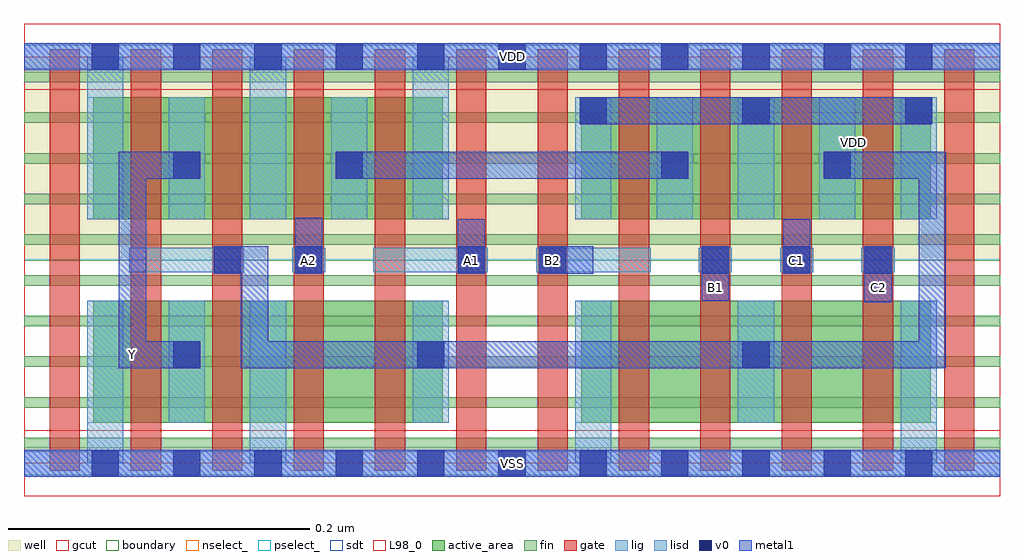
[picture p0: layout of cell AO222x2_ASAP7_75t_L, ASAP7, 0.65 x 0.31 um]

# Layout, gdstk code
import gdstk
lib = gdstk.Library(unit=1e-6, precision=2.5e-10)
def R(c, l, rs):  # rectangles x0, y0, x1, y1
    for r in rs: c.add(gdstk.rectangle(r[:2], r[2:], *l))
def A(c, l, x, y, w, h, nx, ny, dx, dy):  # array of equal rectangles
    R(c, l, [(x+i*dx, y+j*dy, x+i*dx+w, y+j*dy+h) for i in range(nx) for j in range(ny)])
def P(c, l, *ps):  # polygons
    for p in ps: c.add(gdstk.Polygon(p, *l))
well = (1, 0)
fin = (2, 0)
gate = (7, 0)
gcut = (10, 0)
active_area = (11, 0)
nselect_ = (12, 0)
pselect_ = (13, 0)
lig = (16, 0)
lisd = (17, 0)
v0 = (18, 0)
metal1 = (19, 0)
sdt = (88, 0)
L98_0 = (98, 0)
boundary = (100, 0)

ao222x2_asap7_75t_l = lib.new_cell('AO222x2_ASAP7_75t_L')
R(ao222x2_asap7_75t_l, well, [(0,0.135,0.648,0.27)])
A(ao222x2_asap7_75t_l, fin, 0, 0.01, 0.648, 0.007, 1, 10, 0, 0.027)
A(ao222x2_asap7_75t_l, gate, 0.017, -0.005, 0.02, 0.28, 12, 1, 0.054, 0)
R(ao222x2_asap7_75t_l, gcut, [(0,-0.022,0.648,0.022), (0,0.248,0.648,0.292)])
R(ao222x2_asap7_75t_l, active_area, [(0.046,0.027,0.278,0.108), (0.37,0.027,0.602,0.108), (0.046,0.162,0.278,0.243), (0.37,0.162,0.602,0.243)])
R(ao222x2_asap7_75t_l, nselect_, [(0,0,0.648,0.135)])
R(ao222x2_asap7_75t_l, pselect_, [(0,0.135,0.648,0.27)])
A(ao222x2_asap7_75t_l, lig, 0.448, 0.127, 0.022, 0.016, 3, 1, 0.054, 0)
R(ao222x2_asap7_75t_l, lig, [(0,-0.008,0.648,0.008), (0.07,0.127,0.146,0.143), (0.178,0.127,0.2,0.143), (0.232,0.127,0.308,0.143), (0.34,0.127,0.416,0.143), (0,0.262,0.648,0.278)])
A(ao222x2_asap7_75t_l, lisd, 0.15, 0, 0.024, 0.108, 3, 1, 0.216, 0)
A(ao222x2_asap7_75t_l, lisd, 0.042, 0.162, 0.024, 0.108, 3, 1, 0.108, 0)
A(ao222x2_asap7_75t_l, lisd, 0.366, 0.162, 0.024, 0.081, 5, 1, 0.054, 0)
R(ao222x2_asap7_75t_l, lisd, [(0.042,0,0.066,0.108), (0.096,0.027,0.12,0.108), (0.258,0.027,0.282,0.108), (0.474,0.027,0.498,0.108), (0.096,0.162,0.12,0.243), (0.204,0.162,0.228,0.243)])
A(ao222x2_asap7_75t_l, v0, 0.045, -0.009, 0.018, 0.018, 11, 2, 0.054, 0.27)
A(ao222x2_asap7_75t_l, v0, 0.45, 0.126, 0.018, 0.018, 3, 1, 0.054, 0)
A(ao222x2_asap7_75t_l, v0, 0.369, 0.225, 0.018, 0.018, 3, 1, 0.108, 0)
R(ao222x2_asap7_75t_l, v0, [(0.099,0.063,0.117,0.081), (0.261,0.063,0.279,0.081), (0.477,0.063,0.495,0.081), (0.126,0.126,0.144,0.144), (0.18,0.126,0.198,0.144), (0.288,0.126,0.306,0.144), (0.342,0.126,0.36,0.144), (0.099,0.189,0.117,0.207), (0.207,0.189,0.225,0.207), (0.423,0.189,0.441,0.207), (0.531,0.189,0.549,0.207)])
R(ao222x2_asap7_75t_l, metal1, [(0,-0.009,0.648,0.009), (0.558,0.107,0.576,0.144), (0.45,0.108,0.468,0.144), (0.18,0.126,0.198,0.163), (0.288,0.126,0.306,0.162), (0.342,0.126,0.378,0.144), (0.504,0.126,0.522,0.162), (0.207,0.189,0.441,0.207), (0.369,0.225,0.603,0.243), (0,0.261,0.648,0.279)])
P(ao222x2_asap7_75t_l, metal1, [(0.144,0.063),(0.144,0.126),(0.126,0.126),(0.126,0.144),(0.162,0.144),(0.162,0.081),(0.594,0.081),(0.594,0.189),(0.531,0.189),(0.531,0.207),(0.612,0.207),(0.612,0.063)],
  [(0.063,0.063),(0.063,0.207),(0.117,0.207),(0.117,0.189),(0.081,0.189),(0.081,0.081),(0.117,0.081),(0.117,0.063)])
A(ao222x2_asap7_75t_l, sdt, 0.042, 0.027, 0.024, 0.081, 3, 1, 0.054, 0)
A(ao222x2_asap7_75t_l, sdt, 0.258, 0.027, 0.024, 0.081, 4, 1, 0.108, 0)
A(ao222x2_asap7_75t_l, sdt, 0.042, 0.162, 0.024, 0.081, 5, 1, 0.054, 0)
A(ao222x2_asap7_75t_l, sdt, 0.366, 0.162, 0.024, 0.081, 5, 1, 0.054, 0)
R(ao222x2_asap7_75t_l, L98_0, [(0,0,0.648,0.27)])
R(ao222x2_asap7_75t_l, boundary, [(0,0,0.648,0.27)])
ao222x2_asap7_75t_l.add(gdstk.Label('Y', (0.072,0.072), layer=19, texttype=251))
ao222x2_asap7_75t_l.add(gdstk.Label('C2', (0.567,0.117), layer=19, texttype=251))
ao222x2_asap7_75t_l.add(gdstk.Label('C1', (0.513,0.135), layer=19, texttype=251))
ao222x2_asap7_75t_l.add(gdstk.Label('B2', (0.351,0.135), layer=19, texttype=251))
ao222x2_asap7_75t_l.add(gdstk.Label('B1', (0.459,0.117), layer=19, texttype=251))
ao222x2_asap7_75t_l.add(gdstk.Label('A2', (0.189,0.135), layer=19, texttype=251))
ao222x2_asap7_75t_l.add(gdstk.Label('A1', (0.297,0.135), layer=19, texttype=251))
ao222x2_asap7_75t_l.add(gdstk.Label('VSS', (0.324,0), layer=19, texttype=251))
ao222x2_asap7_75t_l.add(gdstk.Label('VDD', (0.324,0.27), layer=19, texttype=251))
ao222x2_asap7_75t_l.add(gdstk.Label('VDD', (0.551,0.213), layer=1, texttype=251))
ao222x2_asap7_75t_l.add(gdstk.Label('VSS', (0.745,0.213), layer=3, texttype=251))

lib.write_gds('AO222x2_ASAP7_75t_L.gds')
